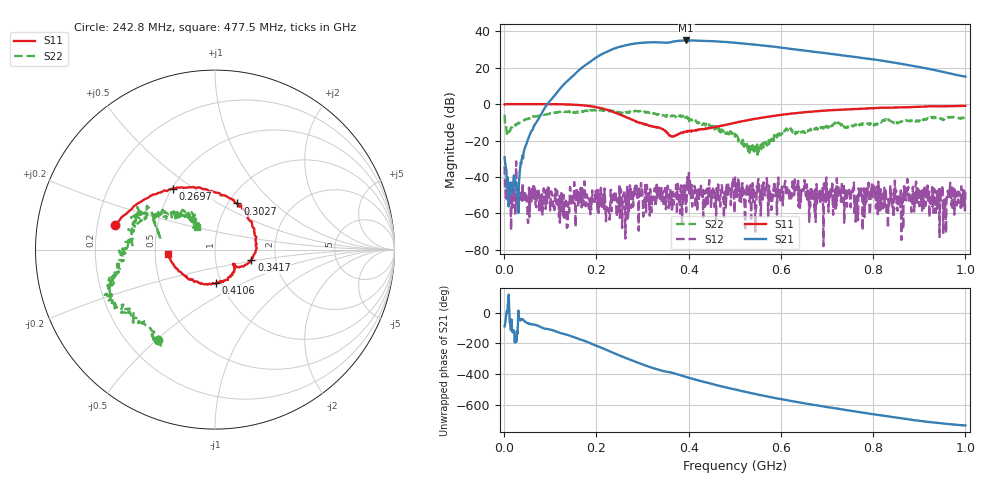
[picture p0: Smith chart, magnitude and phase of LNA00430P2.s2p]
! Created with skrf 1.9.0 (http://scikit-rf.org).
# Hz S RI R 50.0
!freq ReS11 ImS11 ReS21 ImS21 ReS12 ImS12 ReS22 ImS22
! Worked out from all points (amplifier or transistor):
!   1001 points, 1 MHz to 1 GHz, reference 50 ohm
!   highest |S21| = 34.9 dB at 394.6 MHz (marker M1)
!   |S21| within 3 dB of that: 257.5 MHz to 569.1 MHz (311.5 MHz wide, 75.4 % of centre)
!   unconditionally stable (mu >= 1): 209.8 MHz to 266.7 MHz; 297 MHz to 396.5 MHz; 397.1 MHz to end of sweep (the widest 3 of 40)
!   at 166.8 MHz: K = 2.59, MAG = 29.8 dB, |S12| = -54.0 dB
!   at 500.5 MHz: K = 1.14, MAG = 34.7 dB, |S12| = -40.3 dB
!   at 1 GHz: K = 3.82, MAG = 23.0 dB, |S12| = -48.4 dB
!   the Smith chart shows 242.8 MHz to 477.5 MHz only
!   S11 on the Smith chart (normalised r, x): 242.8 MHz: 0.28, +0.11; 269.7 MHz: 0.51, +0.41; 302.7 MHz: 1.10, +0.62; 341.7 MHz: 1.50, -0.18; 410.6 MHz: 0.94, -0.37; 477.5 MHz: 0.58, -0.03
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1000000  0.9778 -0.00893  0.000475 -0.0351  -0.0143 0.0138  0.3997 0.3201
1.09891e8  0.5122 -0.8538  -0.841 -1.538  -0.00193 -0.000245  0.4475 -0.375
1.67833e8  -0.2269 -0.9037  -9.745 -0.6325  -0.000715 -0.00129  0.0632 -0.6317
2.09791e8  -0.6714 -0.3893  -15.62 16.34  0.00256 0.00435  -0.2034 -0.6512
2.42758e8  -0.5547 0.1381  -0.6389 34.6  -0.00121 0.00141  -0.3154 -0.5021
2.69731e8  -0.2339 0.3392  22.66 35.97  -0.00439 0.00033  -0.4717 -0.3528
3.02698e8  0.1247 0.2574  45.05 17.22  -0.00157 0.00167  -0.5841 -0.2007
3.34666e8  0.2266 -0.00557  48.65 -9.559  -0.000179 0.00405  -0.5259 -0.0391
3.41659e8  0.203 -0.0566  46.83 -14.3  -0.000421 0.00194  -0.511 -0.0228
3.71629e8  0.1084 -0.083  42.55 -31.87  -0.00298 0.000265  -0.4074 0.1629
3.94606e8  0.0746 -0.1549  29.46 -47.25  -0.00101 -0.000453  -0.3918 0.1681
4.1059e8  0.00458 -0.188  17.21 -52.85  0.00244 0.00405  -0.2958 0.1818
4.41559e8  -0.1398 -0.167  -6.518 -53.77  -0.000127 0.00183  -0.152 0.1875
4.77523e8  -0.2639 -0.0255  -28.12 -42.41  0.00369 0.000701  -0.098 0.1285
5.005e8  -0.2955 0.0981  -37.19 -31.08  0.00526 0.00815  -0.0549 0.115
5.4046e8  -0.2372 0.307  -41.87 -10.08  0.00183 -0.001  -0.0485 0.00443
5.88412e8  -0.0535 0.4799  -35.62 10.08  0.00139 -0.0028  -0.1004 -0.0714
6.67333e8  0.3162 0.5349  -14.56 23.42  0.00232 -0.00095  -0.1993 -0.0472
7.53247e8  0.6244 0.3768  3.135 19.88  -0.00375 0.000176  -0.2577 -0.00534
8.34166e8  0.785 0.1457  10.3 10.2  0.000296 0.00139  -0.3597 -0.0153
9.09091e8  0.8472 -0.1084  9.629 2.158  -0.00229 0.0013  -0.3423 0.1229
1e9  0.8119 -0.3808  5.495 -1.349  -0.0021 -0.00318  -0.327 0.2872
